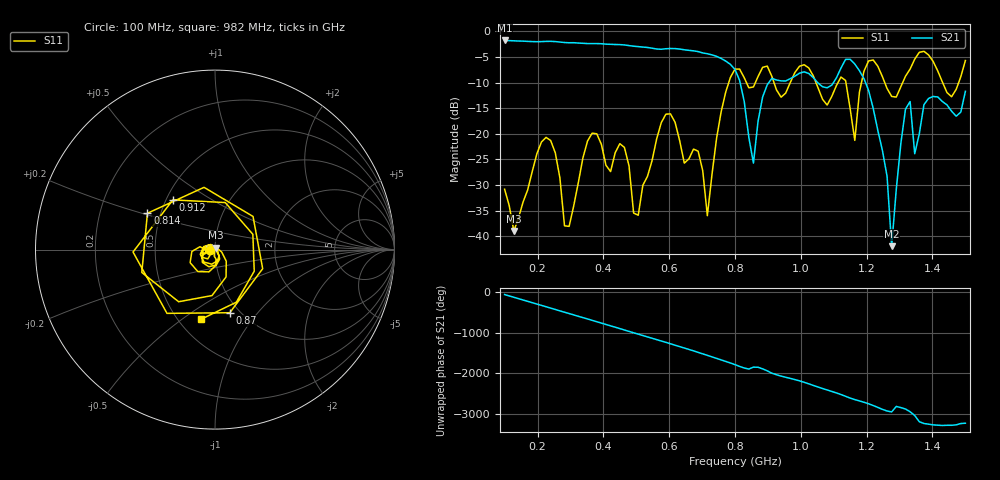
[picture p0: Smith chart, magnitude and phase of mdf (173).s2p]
! NanoVNA-App
! Date: 2025-09-25 15:39:46
! Start: 100MHz Stop: 1,5GHz Points: 101
! S-Parameter data: F S11 S21 S12 S22
# Hz S RI R 50
!  Frequency  S11_Real  S11_Imag  S21_Real  S21_Imag  S12_Real  S12_Imag  S22_Real  S22_Imag
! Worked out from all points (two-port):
!   101 points, 100 MHz to 1.5 GHz, reference 50 ohm
!   highest |S21| = -1.80 dB at 100 MHz (marker M1); lowest = -41.9 dB at 1.276 GHz (marker M2)
!   |S21| within 3 dB of the highest: start of sweep to 739.3 MHz
!   lowest |S11| = -38.9 dB at 128 MHz (marker M3), VSWR 1.02, Z = 50.4 + j1.08 ohm
!   |S11| at or under -10 dB: start of sweep to 781.1 MHz; 1.046 GHz to 1.113 GHz (67.19 MHz wide, 6.22 % of centre); 1.255 GHz to 1.31 GHz (54.65 MHz wide, 4.26 % of centre) (the widest 3 of 7)
!   S12 and S22 are empty: the file has one direction only
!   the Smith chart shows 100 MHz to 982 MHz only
!   S11 on the Smith chart (normalised r, x): 100 MHz: 0.94, -0.01; 814 MHz: 0.42, +0.21; 870 MHz: 0.90, -0.73; 912 MHz: 0.54, +0.35; 982 MHz: 0.64, -0.59
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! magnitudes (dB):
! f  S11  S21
! 100 MHz  -30.8  -1.8
! 128 MHz  -38.9  -1.9
! 212 MHz  -21.6  -2.0
! 282 MHz  -37.9  -2.2
! 338 MHz  -24.7  -2.4
! 464 MHz  -22.6  -2.7
! 506 MHz  -35.9  -3.0
! 576 MHz  -17.8  -3.5
! 716 MHz  -35.9  -4.4
! 800 MHz  -7.4  -7.5
! 814 MHz  -7.4  -9.6
! 856 MHz  -10.9  -25.7
! 870 MHz  -8.8  -17.6
! 912 MHz  -8.8  -9.2
! 982 MHz  -8.0  -8.8
! 1.038 GHz  -8.7  -9.1
! 1.164 GHz  -21.3  -6.4
! 1.192 GHz  -7.8  -9.3
! 1.276 GHz  -12.7  -41.9
! 1.318 GHz  -8.8  -15.2
! 1.346 GHz  -5.5  -23.9
! 1.5 GHz  -5.7  -11.7
